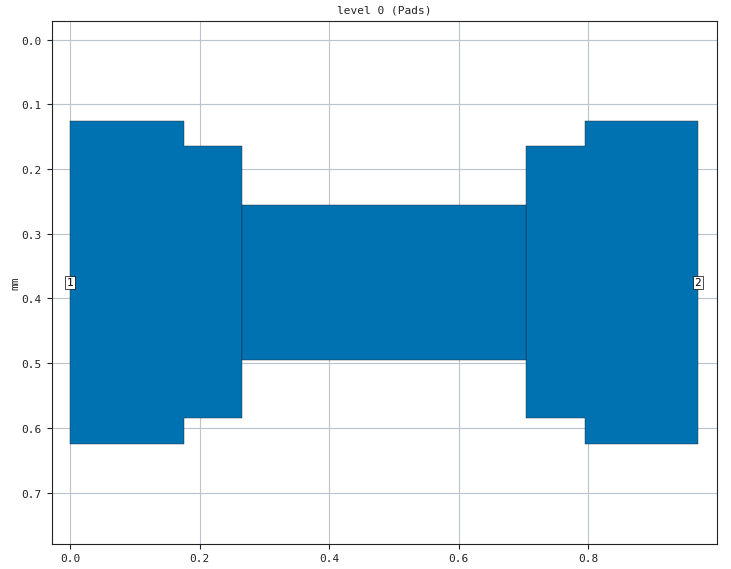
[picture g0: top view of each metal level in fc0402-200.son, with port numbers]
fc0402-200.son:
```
FTYP SONPROJ 18 ! Sonnet Project File
VER 17.56
HEADER
LIC antikernel2.1.48685 90e2ba8817c0 havequick azonenberg Level2Basic
DAT 10/21/2020 22:45:47
BUILT_BY_CREATED xgeom 17.56 10/21/2020 21:14:34
BUILT_BY_SAVED sonnet 17.56
MDATE 10/21/2020 22:45:47
HDATE 10/21/2020 22:45:47
END HEADER
DIM
ANG DEG
CAP PF
CON /OH
FREQ GHZ
IND NH
LNG MM
RES OH
END DIM
CONTROL
VARSWP
OPTIONS  -dj
SPEED 0
CACHE_ABS 1
Q_ACC N
END CONTROL
GEO
SYM
TMET "Free Space" 0 FREESPACE 376.7303136 0 0 0
BMET "Free Space" 0 FREESPACE 376.7303136 0 0 0
MET "Copper" 1 NOR 58000000 0.5 0.02 
MET "Nichrome" 2 RES 109.1
BOX 2 0.97 0.75 388 300 20 0
      1 1 1 0 0 0 0 "Air"
      0.381 8.6 1 0.0003 0 0 0 "Aluminum Nitride"
      1 1 1 0 0 0 0 "Air"
TECHLAY METAL Pads <UNSPECIFIED> -2 0 
0 0 0 N 9 1 1 100 100 0 0 0 Y
END
END
TECHLAY METAL Resistor <UNSPECIFIED> -3 0 
0 0 1 N 35 1 1 100 100 0 0 0 Y
END
END
DIM STD XDIR 1
POS 0.1539817753 -0.01293042387
NOM 0.175
REF1 POLY 53 1
5
REF2 POLY 53 1
4
END
DIM STD YDIR 1
POS -0.0228404942 0.02351496674
NOM 0.04
REF1 POLY 53 1
4
REF2 POLY 53 1
3
END
DIM STD YDIR -1
POS -0.02031535069 -0.2070926554
NOM 0.24
REF1 POLY 55 1
3
REF2 POLY 55 1
0
END
DIM STD XDIR 1
POS 0.2794479871 -0.01491598936
NOM 0.44
REF1 POLY 55 1
0
REF2 POLY 55 1
1
END
DIM STD XDIR 1
POS 0.09697372743 -0.02149627447
NOM 0.09
REF1 POLY 53 1
3
REF2 POLY 53 1
2
END
LORGN 0 0.75 U 
POR1 BOX
POLY 53 1
5
1 50 0 0 0 0 0.375 
POR1 BOX
POLY 54 1
7
2 50 0 0 0 0.97 0.375 
NUM 3
0 9 0 N 53 1 1 100 100 0 0 0 Y
TLAYNAM Pads INH
0.175 0.585
0.265 0.585
0.265 0.165
0.175 0.165
0.175 0.125
0 0.125
0 0.625
0.175 0.625
0.175 0.585
END
0 9 0 N 54 1 1 100 100 0 0 0 Y
TLAYNAM Pads INH
0.97 0.125
0.795 0.125
0.795 0.165
0.705 0.165
0.705 0.585
0.795 0.585
0.795 0.625
0.97 0.625
0.97 0.125
END
0 5 1 N 55 1 1 100 100 0 0 0 Y
TLAYNAM Resistor INH
0.265 0.255
0.705 0.255
0.705 0.495
0.265 0.495
0.265 0.255
END
END GEO
OPT
MAX 100
END OPT
VARSWP
ENABLED Y
FREQ Y AY ABS_ENTRY 0.1 40.0 -1 300 
END
END VARSWP
```
